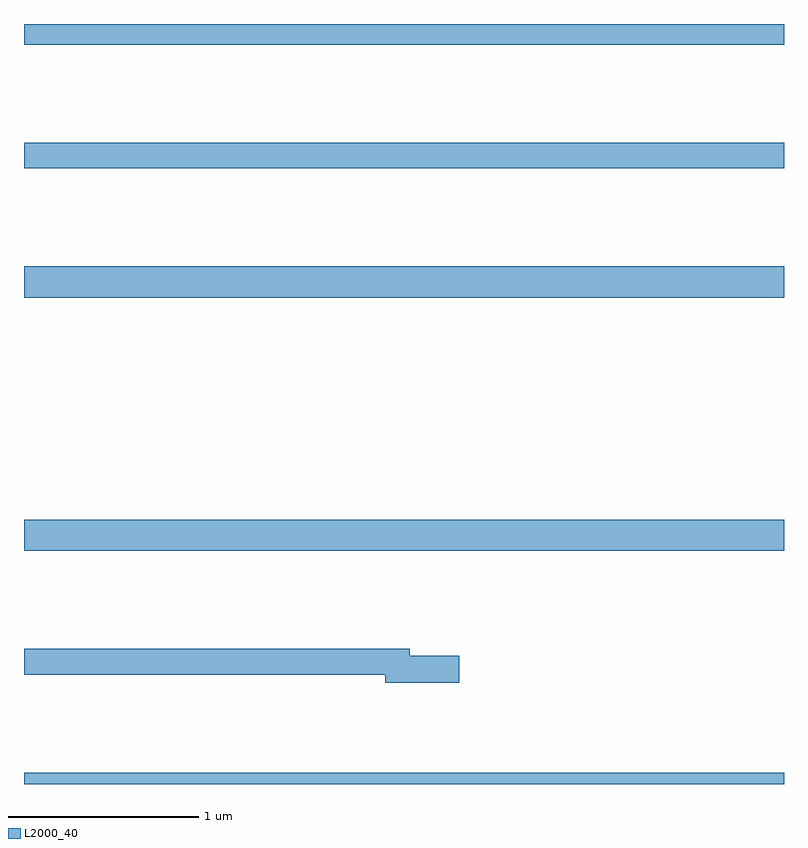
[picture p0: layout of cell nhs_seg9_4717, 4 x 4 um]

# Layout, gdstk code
import gdstk
lib = gdstk.Library(unit=1e-6, precision=1e-09)
def R(c, l, rs):  # rectangles x0, y0, x1, y1
    for r in rs: c.add(gdstk.rectangle(r[:2], r[2:], *l))
def P(c, l, *ps):  # polygons
    for p in ps: c.add(gdstk.Polygon(p, *l))
L2000_40 = (2000, 40)

nhs_seg9_4717 = lib.new_cell('nhs_seg9_4717')
R(nhs_seg9_4717, L2000_40, [(383,1220.5,387,1220.56), (383,1221.728,387,1221.892), (383,1223.06,387,1223.224), (383,1223.74,387,1223.876), (383,1224.392,387,1224.5)])
P(nhs_seg9_4717, L2000_40, [(385.291,1221.176),(385.03,1221.176),(385.03,1221.212),(383,1221.212),(383,1221.076),(384.902,1221.076),(384.902,1221.034),(385.291,1221.034)])

lib.write_gds('nhs_seg9_4717.gds')
